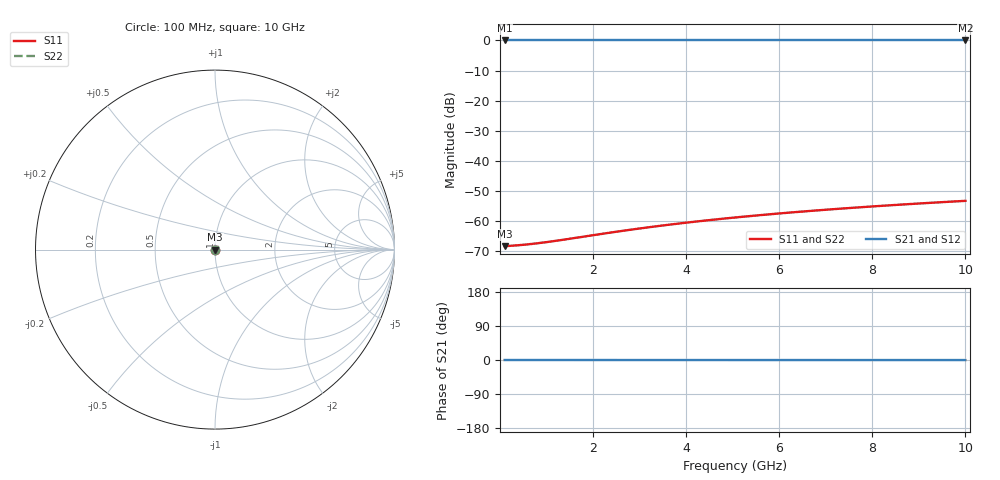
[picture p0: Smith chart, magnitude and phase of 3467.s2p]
# Hz S RI R 50.00
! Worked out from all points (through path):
!   100 points, 100 MHz to 10 GHz, reference 50 ohm
!   highest |S21| = 0.00 dB at 100 MHz (marker M1); lowest = 0.0 dB at 10 GHz (marker M2)
!   lowest |S11| = -68.3 dB at 100 MHz (marker M3), VSWR 1.00, Z = 50 + j0.00213 ohm
!   |S11| at or under -10 dB: start of sweep to end of sweep
!   |S22| runs from -68.3 to -53.2 dB; largest |S21 - S12| = 0
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1e8  0.000385 2.13e-05  0.9996 -2.68e-05  0.9996 -2.68e-05  0.000385 2.13e-05
3e8  0.000389 6.39e-05  0.9996 -8.03e-05  0.9996 -8.03e-05  0.000389 6.39e-05
5e8  0.000392 0.000107  0.9996 -0.000134  0.9996 -0.000134  0.000392 0.000107
8e8  0.000395 0.00017  0.9996 -0.000214  0.9996 -0.000214  0.000395 0.00017
1e9  0.000397 0.000213  0.9996 -0.000268  0.9996 -0.000268  0.000397 0.000213
1.2e9  0.000398 0.000256  0.9996 -0.000321  0.9996 -0.000321  0.000398 0.000256
1.8e9  0.000401 0.000383  0.9996 -0.000482  0.9996 -0.000482  0.000401 0.000383
2.3e9  0.000404 0.00049  0.9996 -0.000616  0.9996 -0.000616  0.000404 0.00049
2.7e9  0.000405 0.000575  0.9996 -0.000723  0.9996 -0.000723  0.000405 0.000575
3.1e9  0.000407 0.000661  0.9996 -0.00083  0.9996 -0.00083  0.000407 0.000661
3.4e9  0.000408 0.000725  0.9996 -0.000911  0.9996 -0.000911  0.000408 0.000725
3.8e9  0.000409 0.00081  0.9996 -0.00102  0.9996 -0.00102  0.000409 0.00081
4.2e9  0.00041 0.000895  0.9996 -0.00113  0.9996 -0.00113  0.00041 0.000895
4.6e9  0.000411 0.000981  0.9996 -0.00123  0.9996 -0.00123  0.000411 0.000981
5.1e9  0.000413 0.00109  0.9996 -0.00137  0.9996 -0.00137  0.000413 0.00109
5.5e9  0.000414 0.00117  0.9996 -0.00147  0.9996 -0.00147  0.000414 0.00117
5.9e9  0.000415 0.00126  0.9996 -0.00158  0.9996 -0.00158  0.000415 0.00126
6.7e9  0.000417 0.00143  0.9996 -0.0018  0.9996 -0.0018  0.000417 0.00143
7.5e9  0.000419 0.0016  0.9996 -0.00201  0.9996 -0.00201  0.000419 0.0016
8.4e9  0.000421 0.00179  0.9996 -0.00225  0.9996 -0.00225  0.000421 0.00179
9.2e9  0.000423 0.00196  0.9996 -0.00247  0.9996 -0.00247  0.000423 0.00196
1e10  0.000425 0.00214  0.9996 -0.00269  0.9996 -0.00269  0.000425 0.00214
